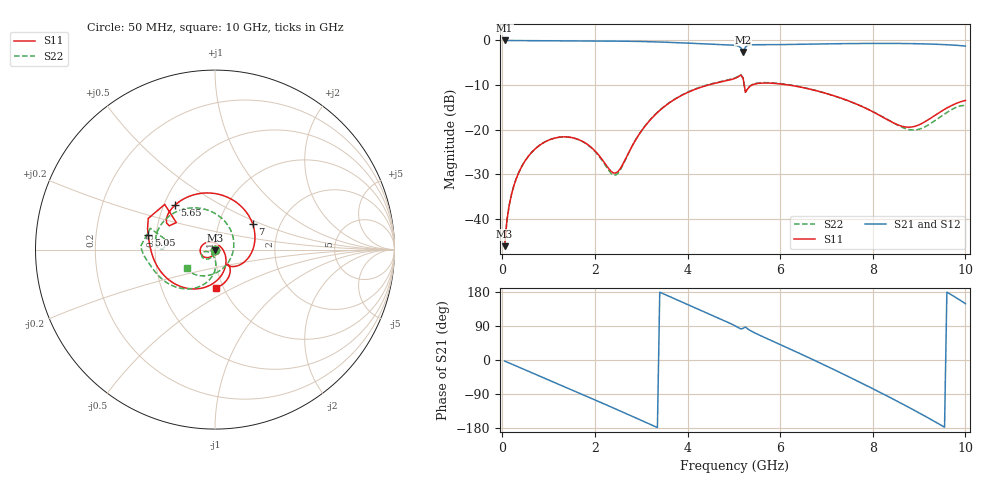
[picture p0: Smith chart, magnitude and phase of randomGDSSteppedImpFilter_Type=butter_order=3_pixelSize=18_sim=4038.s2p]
! freq	dB(S11)	phase(S11)	dB(S12)	phase(S12)
!  dB(S21)	phase(S21)	dB(S22)	phase(S22)
!S-par simulation data
#  GHz  S  DB  R 50
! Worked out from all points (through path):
!   200 points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, 50 MHz to 10 GHz, reference 50 ohm
!   highest |S21| = 0.00 dB at 50 MHz (marker M1); lowest = -2.6 dB at 5.2 GHz (marker M2)
!   group delay of S21, straight-line fit = 155 ps
!   lowest |S11| = -46.1 dB at 50 MHz (marker M3), VSWR 1.01, Z = 50 - j0.495 ohm
!   |S11| at or under -10 dB: start of sweep to 4.445 GHz; 5.224 GHz to 5.392 GHz (167.4 MHz wide, 3.15 % of centre); 6.19 GHz to end of sweep
!   |S22| runs from -46.1 to -7.6 dB; largest |S21 - S12| = 0
!   S11 on the Smith chart (normalised r, x): 50 MHz: 1.00, -0.01; 5.05 GHz: 0.45, +0.09; 5.65 GHz: 0.57, +0.32; 7 GHz: 1.45, +0.45; 10 GHz: 0.92, -0.41
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0.05  -46.10 -90.2  -0.00 -2.7  -0.00 -2.7  -46.09 -89.3
0.1  -40.31 -93.8  -0.01 -5.3  -0.01 -5.3  -40.29 -92.6
0.2  -34.45 -101.0  -0.02 -10.6  -0.02 -10.6  -34.42 -98.5
0.55  -26.13 -122.8  -0.05 -29.0  -0.05 -29.0  -26.12 -116.0
1.1  -21.97 -156.5  -0.10 -57.9  -0.10 -57.9  -21.98 -140.9
1.75  -22.71 158.6  -0.13 -92.0  -0.13 -92.0  -22.78 -165.0
2.45  -29.72 47.5  -0.16 -129.3  -0.16 -129.3  -30.15 -126.4
3.4  -15.68 -83.2  -0.35 178.9  -0.35 178.9  -15.61 -99.3
4.3  -10.46 -142.7  -0.73 130.2  -0.73 130.2  -10.37 -136.9
5.05  -8.39 167.8  -1.14 88.8  -1.14 88.8  -8.28 -171.5
5.2  -8.48 138.1  -2.56 83.5  -2.56 83.5  -8.42 161.8
5.25  -11.61 145.1  -1.51 87.1  -1.51 87.1  -11.60 170.4
5.65  -9.55 132.2  -0.96 60.1  -0.96 60.1  -9.45 167.4
6.2  -10.02 94.0  -0.91 29.7  -0.91 29.7  -9.94 145.2
6.7  -11.06 57.3  -0.82 1.4  -0.82 1.4  -11.03 125.7
7  -11.89 34.8  -0.77 -15.9  -0.77 -15.9  -11.89 114.0
7.75  -14.72 -18.8  -0.68 -60.4  -0.68 -60.4  -14.72 80.6
8.35  -17.95 -47.5  -0.67 -97.5  -0.67 -97.5  -17.91 40.1
8.8  -19.44 -49.6  -0.71 -126.4  -0.71 -126.4  -20.00 -11.2
9.25  -17.42 -51.4  -0.81 -156.4  -0.81 -156.4  -18.61 -72.9
9.65  -14.86 -68.3  -0.99 175.5  -0.99 175.5  -15.81 -115.3
10  -13.46 -88.5  -1.27 148.6  -1.27 148.6  -14.62 -146.2
